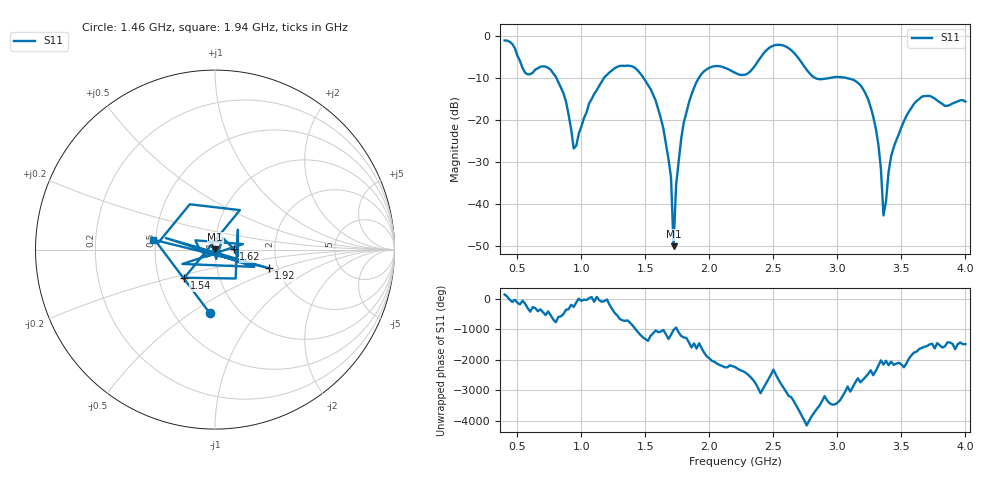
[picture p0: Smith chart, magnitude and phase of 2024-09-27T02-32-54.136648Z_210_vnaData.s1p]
!Created with skrf (http://scikit-rf.org).
# Hz S RI R 50.0
!freq ReS11 ImS11
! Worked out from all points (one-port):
!   181 points, 400 MHz to 4 GHz, reference 50 ohm
!   lowest |S11| = -50.1 dB at 1.72 GHz (marker M1), VSWR 1.01, Z = 50.2 + j0.265 ohm
!   |S11| at or under -10 dB: 803.3 MHz to 1.179 GHz (375.2 MHz wide, 37.9 % of centre); 1.483 GHz to 1.92 GHz (436.4 MHz wide, 25.6 % of centre); 3.055 GHz to end of sweep (the widest 3 of 4)
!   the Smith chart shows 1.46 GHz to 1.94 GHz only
!   S11 on the Smith chart (normalised r, x): 1.46 GHz: 0.74, -0.59; 1.54 GHz: 0.68, -0.22; 1.62 GHz: 1.23, +0.01; 1.92 GHz: 1.79, -0.41; 1.94 GHz: 0.48, +0.06
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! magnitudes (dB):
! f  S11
! 400 MHz  -1.2
! 560 MHz  -8.8
! 740 MHz  -7.7
! 860 MHz  -13.8
! 940 MHz  -26.9
! 1.1 GHz  -13.9
! 1.3 GHz  -7.2
! 1.46 GHz  -9.0
! 1.54 GHz  -12.7
! 1.62 GHz  -19.6
! 1.7 GHz  -33.7
! 1.72 GHz  -50.1
! 1.74 GHz  -35.5
! 1.76 GHz  -30.0
! 1.8 GHz  -20.7
! 1.92 GHz  -10.0
! 1.94 GHz  -9.1
! 2.2 GHz  -8.9
! 2.5 GHz  -2.4
! 2.66 GHz  -4.1
! 2.84 GHz  -10.3
! 3.1 GHz  -10.3
! 3.28 GHz  -19.3
! 3.34 GHz  -31.7
! 3.36 GHz  -42.8
! 3.42 GHz  -28.7
! 3.56 GHz  -18.0
! 4 GHz  -15.7
